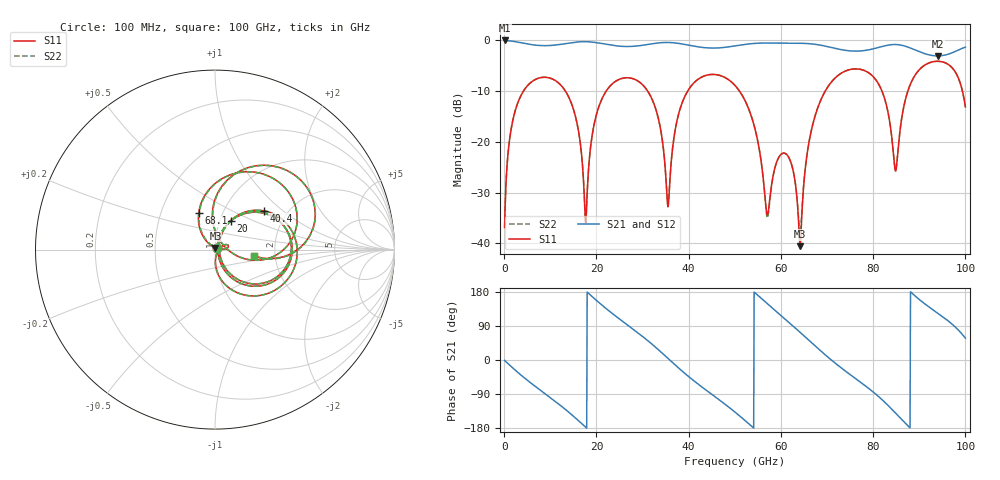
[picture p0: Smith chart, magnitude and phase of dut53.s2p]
! Touchstone file exported from HFSS 2026.1.0
!  File:  C:/ffzhzh/LocalFiles/Ansys_Project_Files/temp_train_TSV_RDL_53_1783621935_33328.aedt
!  Generated:  02:41:50 AM Jul 10, 2026
!  Design:  TSV_RDL
!  Project:  temp_train_TSV_RDL_53_1783621935_33328
! Variables:
!  h_bsmrdl = 4.51um
!  h_ox = 20um
!  h_rdl = 5um
!  h_sub = 74.58um
!  h_tmrdl = 4.36um
!  h_tsv = 74.58um
!  h_via = 3um
!  l_bsmrdl = 511.49um
!  l_sub = 3401.83um
!  l_tmrdl = 327.99um
!  m_sub = 200um
!  pitch = 50.12um
!  r_tsv = 11.27um
!  s_tmrdl = 10um
!  w_bsmrdl = 24.73um
!  w_sub = 500um
!  w_tmrdl = 27.07um
!  x_tsv_center1 = 341.525um
!  x_tsv_center2 = 877.745um
!  x_tsv_center3 = 1232.805um
!  x_tsv_center4 = 1769.025um
!  x_tsv_center5 = 2124.085um
!  x_tsv_center6 = 2660.305um
# GHz S MA R 50.000000
! Terminal data exported
! Port[1] = TM_RDL1_1_T1
! Port[2] = TM_RDL5_1_T1
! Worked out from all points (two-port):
!   1000 points, 100 MHz to 100 GHz, reference 50 ohm
!   highest |S21| = -0.09 dB at 100 MHz (marker M1); lowest = -3.1 dB at 94 GHz (marker M2)
!   |S21| within 3 dB of the highest: start of sweep to 93.21 GHz; 94.72 GHz to end of sweep
!   lowest |S11| = -40.5 dB at 64.2 GHz (marker M3), VSWR 1.02, Z = 50.2 + j0.917 ohm
!   |S11| at or under -10 dB: 13.25 GHz to 22.16 GHz (8.912 GHz wide, 50.3 % of centre); 31.08 GHz to 39.82 GHz (8.737 GHz wide, 24.6 % of centre); 50.99 GHz to 69.64 GHz (18.66 GHz wide, 30.9 % of centre) (the widest 3 of 6)
!   |S22| runs from -38.0 to -4.2 dB; largest |S21 - S12| = 9.4e-13
!   S11 on the Smith chart (normalised r, x): 100 MHz: 1.02, +0.02; 20 GHz: 1.13, +0.38; 40.4 GHz: 1.52, +0.75; 68.1 GHz: 0.77, +0.33; 100 GHz: 1.55, -0.11
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0.1  0.01428 43.3  0.9898 -1.2  0.9898 -1.2  0.01428 43.3
! Gamma 0 0 0 0
! Port Impedance 50 0 50 0
2  0.1717 62.4  0.9697 -22.4  0.9697 -22.4  0.1717 62.4
6.3  0.3978 21.7  0.8957 -65.5  0.8957 -65.5  0.3978 21.8
16.8  0.07356 -67.4  0.9618 -167.6  0.9618 -167.6  0.07368 -66.9
17.8  0.01883 33.8  0.9623 -178.7  0.9623 -178.7  0.01936 32.8
20  0.1844 61.4  0.9422 157.4  0.9422 157.4  0.1844 61.2
26.8  0.4254 0.9  0.8632 92.0  0.8632 92.0  0.4253 0.9
33.4  0.1716 -56.8  0.9351 27.6  0.9351 27.6  0.1716 -56.4
35.6  0.02386 18.7  0.9458 3.3  0.9458 3.3  0.02496 18.3
40.4  0.3462 38.7  0.882 -47.7  0.882 -47.7  0.3463 38.6
50.1  0.3555 -46.0  0.8753 -138.0  0.8753 -138.0  0.3556 -46.1
56.2  0.04236 -83.5  0.9334 157.8  0.9334 157.8  0.04204 -84.6
61.4  0.07366 9.9  0.9294 102.7  0.9294 102.7  0.0734 11.7
64.2  0.009396 76.3  0.9286 72.7  0.9286 72.7  0.01259 76.3
66.7  0.1349 127.2  0.9155 45.3  0.9155 45.3  0.1357 125.7
68.1  0.2223 114.2  0.8978 29.9  0.8978 29.9  0.2229 113.2
77  0.5169 33.9  0.7789 -56.3  0.7789 -56.3  0.5169 33.7
83.4  0.1768 -17.3  0.8926 -121.9  0.8926 -121.9  0.1769 -16.9
84.9  0.05145 43.4  0.9028 -140.7  0.9028 -140.7  0.05324 43.5
88.1  0.3695 82.4  0.8327 179.9  0.8327 179.9  0.3701 82.0
94  0.6176 33.4  0.6979 123.6  0.6979 123.6  0.6178 33.1
100  0.2198 -8.9  0.8495 57.7  0.8495 57.7  0.2191 -9.5
